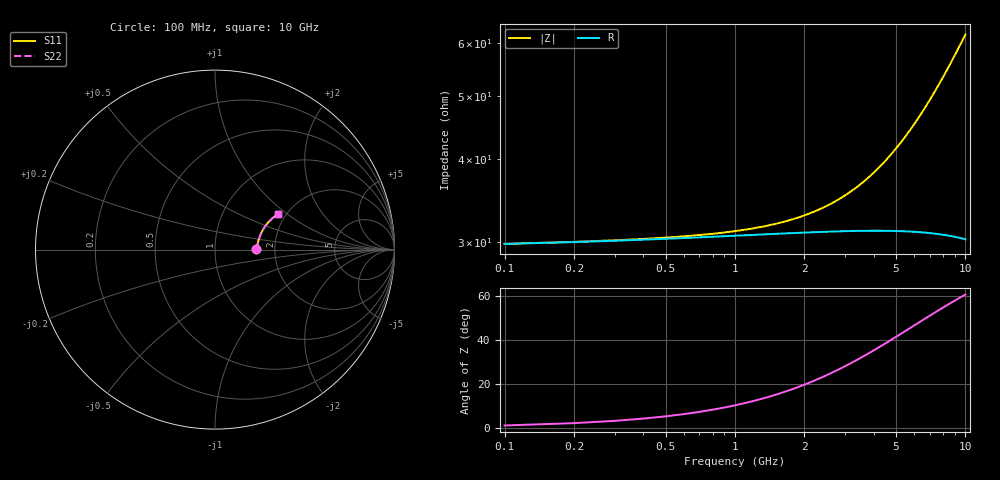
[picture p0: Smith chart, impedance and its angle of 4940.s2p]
# Hz S RI R 50.00
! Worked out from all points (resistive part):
!   100 points, 100 MHz to 10 GHz, reference 50 ohm
!   read as one part in series: R = 29.8 ohm at 100 MHz
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1e8  0.2294 0.00255  0.7706 -0.00395  0.7706 -0.00395  0.2294 0.00255
2e8  0.2306 0.00509  0.7694 -0.00787  0.7694 -0.00787  0.2306 0.00509
3e8  0.2315 0.00761  0.7685 -0.0118  0.7685 -0.0118  0.2315 0.00761
5e8  0.2329 0.0126  0.767 -0.0196  0.767 -0.0196  0.2329 0.0126
1.2e9  0.2371 0.03  0.7628 -0.0467  0.7628 -0.0467  0.2371 0.03
1.5e9  0.2389 0.0373  0.7609 -0.0582  0.7609 -0.0582  0.2389 0.0373
1.8e9  0.2407 0.0446  0.7589 -0.0696  0.7589 -0.0696  0.2407 0.0446
2.2e9  0.2435 0.0542  0.756 -0.0848  0.756 -0.0848  0.2435 0.0542
2.6e9  0.2465 0.0636  0.7527 -0.0998  0.7527 -0.0998  0.2465 0.0636
3e9  0.2498 0.0729  0.7492 -0.1147  0.7492 -0.1147  0.2498 0.0729
3.4e9  0.2535 0.0821  0.7452 -0.1294  0.7452 -0.1294  0.2535 0.0821
3.8e9  0.2574 0.091  0.741 -0.1439  0.741 -0.1439  0.2574 0.091
4.2e9  0.2617 0.0998  0.7364 -0.1583  0.7364 -0.1583  0.2617 0.0998
4.6e9  0.2663 0.1083  0.7314 -0.1724  0.7314 -0.1724  0.2663 0.1083
5.1e9  0.2724 0.1187  0.7247 -0.1898  0.7247 -0.1898  0.2724 0.1187
5.9e9  0.2832 0.1346  0.713 -0.2169  0.713 -0.2169  0.2832 0.1346
6.7e9  0.295 0.1494  0.7001 -0.2429  0.7001 -0.2429  0.295 0.1494
7.2e9  0.3029 0.1581  0.6914 -0.2586  0.6914 -0.2586  0.3029 0.1581
7.6e9  0.3095 0.1647  0.6842 -0.2708  0.6842 -0.2708  0.3095 0.1647
8.4e9  0.3232 0.177  0.669 -0.2944  0.669 -0.2944  0.3232 0.177
9.2e9  0.3377 0.1881  0.653 -0.3169  0.653 -0.3169  0.3377 0.1881
1e10  0.3528 0.1979  0.6362 -0.338  0.6362 -0.338  0.3528 0.1979
